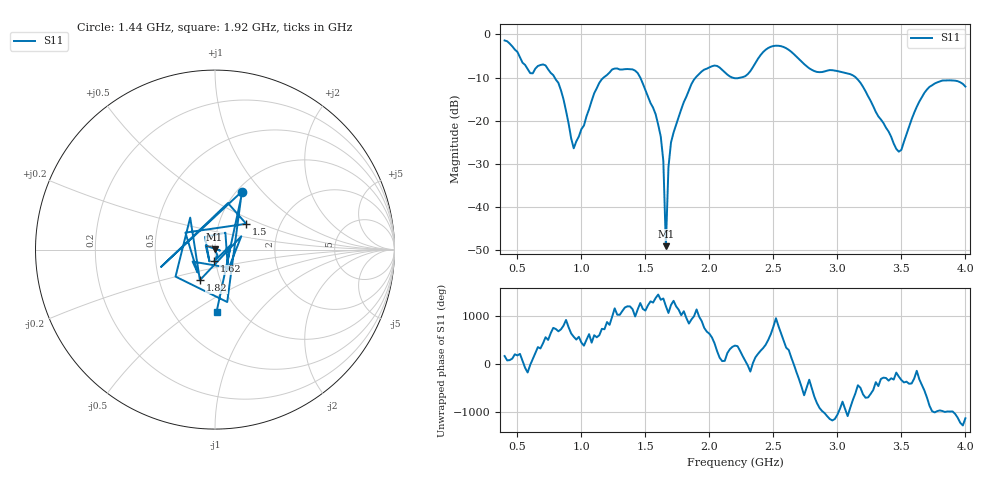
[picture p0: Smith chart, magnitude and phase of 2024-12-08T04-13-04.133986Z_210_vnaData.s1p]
!Created with skrf (http://scikit-rf.org).
# Hz S RI R 50.0
!freq ReS11 ImS11
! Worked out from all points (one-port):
!   181 points, 400 MHz to 4 GHz, reference 50 ohm
!   lowest |S11| = -49.1 dB at 1.66 GHz (marker M1), VSWR 1.01, Z = 49.8 + j0.254 ohm
!   |S11| at or under -10 dB: 791 MHz to 1.174 GHz (383 MHz wide, 39 % of centre); 1.46 GHz to 1.893 GHz (433.2 MHz wide, 25.8 % of centre); 3.144 GHz to end of sweep (the widest 3 of 4)
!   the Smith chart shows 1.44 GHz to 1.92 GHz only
!   S11 on the Smith chart (normalised r, x): 1.44 GHz: 1.05, +0.78; 1.5 GHz: 1.35, +0.41; 1.62 GHz: 0.98, -0.13; 1.82 GHz: 0.80, -0.28; 1.92 GHz: 0.80, -0.63
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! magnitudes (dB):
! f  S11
! 400 MHz  -1.4
! 600 MHz  -9.0
! 720 MHz  -7.2
! 860 MHz  -15.0
! 940 MHz  -26.4
! 1.14 GHz  -11.2
! 1.3 GHz  -8.1
! 1.44 GHz  -9.0
! 1.5 GHz  -12.9
! 1.62 GHz  -23.7
! 1.64 GHz  -29.3
! 1.66 GHz  -49.1
! 1.68 GHz  -30.8
! 1.7 GHz  -25.1
! 1.76 GHz  -19.1
! 1.82 GHz  -14.4
! 1.92 GHz  -9.2
! 2.04 GHz  -7.2
! 2.2 GHz  -10.2
! 2.48 GHz  -2.8
! 2.66 GHz  -4.6
! 2.82 GHz  -8.5
! 3.1 GHz  -9.2
! 3.2 GHz  -12.1
! 3.48 GHz  -27.2
! 3.56 GHz  -21.4
! 3.72 GHz  -12.1
! 4 GHz  -12.1
